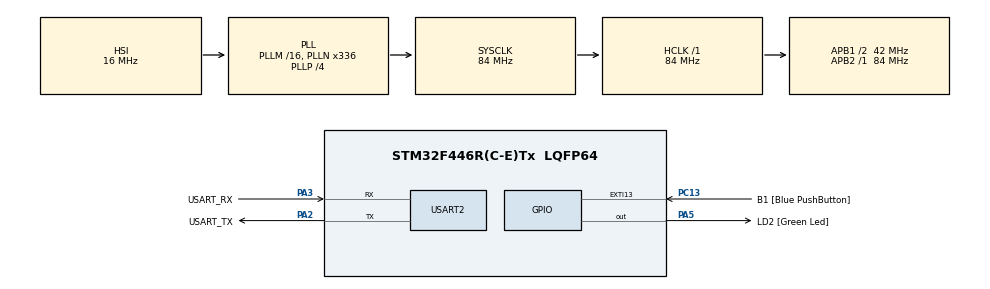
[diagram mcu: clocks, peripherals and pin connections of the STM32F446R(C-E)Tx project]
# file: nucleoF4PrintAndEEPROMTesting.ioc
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Mcu.Family=STM32F4
Mcu.Name=STM32F446R(C-E)Tx
Mcu.Package=LQFP64
NVIC.EXTI15_10_IRQn=true\:0\:0\:false\:false\:true\:true\:true\:true
NVIC.PriorityGroup=NVIC_PRIORITYGROUP_0
NimaLTD.I-CUBE-EE.3.2.2.DriverJjEE=true
NimaLTD.I-CUBE-EE.3.2.2.EE_MANUAL_CONFIG=true
NimaLTD.I-CUBE-EE.3.2.2.EE_SELECTED_ADDRESS=0x08060000
NimaLTD.I-CUBE-EE.3.2.2.EE_SELECTED_PAGE_SECTOR_NUMBER=7
NimaLTD.I-CUBE-EE.3.2.2.EE_SELECTED_PAGE_SECTOR_SIZE=EE_PAGE_SECTOR_SIZE_128K
PA13.GPIO_Label=TMS
PA13.Mode=Serial_Wire
PA13.Signal=SYS_JTMS-SWDIO
PA14.GPIO_Label=TCK
PA14.Mode=Serial_Wire
PA14.Signal=SYS_JTCK-SWCLK
PA2.GPIO_Label=USART_TX
PA2.Mode=Asynchronous
PA2.Signal=USART2_TX
PA3.GPIO_Label=USART_RX
PA3.Mode=Asynchronous
PA3.Signal=USART2_RX
PA5.GPIO_Label=LD2 [Green Led]
PA5.Signal=GPIO_Output
PB3.GPIO_Label=SWO
PB3.Signal=SYS_JTDO-SWO
PC13.GPIO_Label=B1 [Blue PushButton]
PC13.GPIO_ModeDefaultEXTI=GPIO_MODE_IT_FALLING
PC13.Signal=GPXTI13
PC14-OSC32_IN.Mode=LSE-External-Oscillator
PC14-OSC32_IN.Signal=RCC_OSC32_IN
PC15-OSC32_OUT.Mode=LSE-External-Oscillator
PC15-OSC32_OUT.Signal=RCC_OSC32_OUT
PH0-OSC_IN.Mode=HSE-External-Oscillator
PH0-OSC_IN.Signal=RCC_OSC_IN
PH1-OSC_OUT.Mode=HSE-External-Oscillator
PH1-OSC_OUT.Signal=RCC_OSC_OUT
ProjectManager.HeapSize=0x200
ProjectManager.StackSize=0x400
ProjectManager.TargetToolchain=STM32CubeIDE
RCC.48MHZClocksFreq_Value=84000000
RCC.AHBFreq_Value=84000000
RCC.APB1CLKDivider=RCC_HCLK_DIV2
RCC.APB1Freq_Value=42000000
RCC.APB1TimFreq_Value=84000000
RCC.APB2Freq_Value=84000000
RCC.APB2TimFreq_Value=84000000
RCC.CortexFreq_Value=84000000
RCC.FLatency-AdvancedSettings=FLASH_LATENCY_2
RCC.HCLKFreq_Value=84000000
RCC.HSE_VALUE=8000000
RCC.HSI_VALUE=16000000
RCC.PLLN=336
RCC.PLLP=RCC_PLLP_DIV4
RCC.SYSCLKFreq_VALUE=84000000
RCC.SYSCLKSource=RCC_SYSCLKSOURCE_PLLCLK
RCC.USBFreq_Value=168000000
RCC.VCOOutputFreq_Value=336000000
USART2.VirtualMode=VM_ASYNC
VP_NimaLTD.I-CUBE-EE_VS_DriverJjEE_1.0.0_3.2.2.Mode=DriverJjEE
board=NUCLEO-F446RE

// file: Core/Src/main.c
/* USER CODE BEGIN Header */
/**
  ******************************************************************************
  * @file           : main.c
  * @brief          : Main program body
  ******************************************************************************
  * @attention
  *
  * Copyright (c) 2025 STMicroelectronics.
  * All rights reserved.
  *
  * This software is licensed under terms that can be found in the LICENSE file
  * in the root directory of this software component.
  * If no LICENSE file comes with this software, it is provided AS-IS.
  *
  ******************************************************************************
  */
/* USER CODE END Header */
#include "main.h"

/* USER CODE BEGIN Includes */
#include <stdio.h>
#include "ee.h"
/* USER CODE END Includes */

/* USER CODE BEGIN PD */

typedef struct
{
 uint32_t val1;
 uint32_t val2;
 uint32_t val3;
 uint32_t val4;

} Stotrage_t;

Stotrage_t ee;

uint8_t X = 0;
volatile uint8_t EEWriteLatch = 0;

/* USER CODE END PD */

UART_HandleTypeDef huart2;

void SystemClock_Config(void);
static void MX_GPIO_Init(void);
static void MX_USART2_UART_Init(void);

/* USER CODE BEGIN 0 */

void HAL_GPIO_EXTI_Callback(uint16_t GPIO_Pin)
{
  /* Prevent unused argument(s) compilation warning */
  //UNUSED(GPIO_Pin);

	if(GPIO_Pin == B1_Pin) {
		//ee.val1++;
		EEWriteLatch = 1;
	}

  /* NOTE: This function Should not be modified, when the callback is needed,
           the HAL_GPIO_EXTI_Callback could be implemented in the user file
   */
}

/* USER CODE END 0 */

int main(void)
{

  /* MCU Configuration--------------------------------------------------------*/

  /* Reset of all peripherals, Initializes the Flash interface and the Systick. */
  HAL_Init();

  /* Configure the system clock */
  SystemClock_Config();

  /* Initialize all configured peripherals */
  MX_GPIO_Init();
  MX_USART2_UART_Init();
  /* USER CODE BEGIN 2 */

	uint8_t MSG[35] = {'\0'};
	X = 0;

	EE_Init(&ee, sizeof(Stotrage_t));
	EE_Read();

  /* USER CODE END 2 */

  /* Infinite loop */
  /* USER CODE BEGIN WHILE */
  while (1)
  {
	if(EEWriteLatch == 1) {
		ee.val1++;
		ee.val2 = 0;
		ee.val3 = 0;
		ee.val4 = 0;
		EE_Write();
		EEWriteLatch = 0;
	}
	/*
	sprintf(MSG, "Tracing X = %d\r\n", X);
	HAL_UART_Transmit(&huart2, MSG, sizeof(MSG), ee.val1);
	*/
	int len = snprintf((char*)MSG, sizeof(MSG), "Tracing X = %d\r\n", (int)ee.val1);
	HAL_UART_Transmit(&huart2, MSG, len, 100);  // fixed timeout, correct length
    HAL_GPIO_TogglePin(LD2_GPIO_Port, LD2_Pin);   // <--- add this
	HAL_Delay(200);

	//X++;

    /* USER CODE END WHILE */

  }
}

void SystemClock_Config(void)
{
  RCC_OscInitTypeDef RCC_OscInitStruct = {0};
  RCC_ClkInitTypeDef RCC_ClkInitStruct = {0};

  /** Configure the main internal regulator output voltage
  */
  __HAL_RCC_PWR_CLK_ENABLE();
  __HAL_PWR_VOLTAGESCALING_CONFIG(PWR_REGULATOR_VOLTAGE_SCALE3);

  /** Initializes the RCC Oscillators according to the specified parameters
  * in the RCC_OscInitTypeDef structure.
  */
  RCC_OscInitStruct.OscillatorType = RCC_OSCILLATORTYPE_HSI;
  RCC_OscInitStruct.HSIState = RCC_HSI_ON;
  RCC_OscInitStruct.HSICalibrationValue = RCC_HSICALIBRATION_DEFAULT;
  RCC_OscInitStruct.PLL.PLLState = RCC_PLL_ON;
  RCC_OscInitStruct.PLL.PLLSource = RCC_PLLSOURCE_HSI;
  RCC_OscInitStruct.PLL.PLLM = 16;
  RCC_OscInitStruct.PLL.PLLN = 336;
  RCC_OscInitStruct.PLL.PLLP = RCC_PLLP_DIV4;
  RCC_OscInitStruct.PLL.PLLQ = 2;
  RCC_OscInitStruct.PLL.PLLR = 2;
  if (HAL_RCC_OscConfig(&RCC_OscInitStruct) != HAL_OK)
  {
    Error_Handler();
  }

  /** Initializes the CPU, AHB and APB buses clocks
  */
  RCC_ClkInitStruct.ClockType = RCC_CLOCKTYPE_HCLK|RCC_CLOCKTYPE_SYSCLK
                              |RCC_CLOCKTYPE_PCLK1|RCC_CLOCKTYPE_PCLK2;
  RCC_ClkInitStruct.SYSCLKSource = RCC_SYSCLKSOURCE_PLLCLK;
  RCC_ClkInitStruct.AHBCLKDivider = RCC_SYSCLK_DIV1;
  RCC_ClkInitStruct.APB1CLKDivider = RCC_HCLK_DIV2;
  RCC_ClkInitStruct.APB2CLKDivider = RCC_HCLK_DIV1;

  if (HAL_RCC_ClockConfig(&RCC_ClkInitStruct, FLASH_LATENCY_2) != HAL_OK)
  {
    Error_Handler();
  }
}

static void MX_USART2_UART_Init(void)
{

  huart2.Instance = USART2;
  huart2.Init.BaudRate = 115200;
  huart2.Init.WordLength = UART_WORDLENGTH_8B;
  huart2.Init.StopBits = UART_STOPBITS_1;
  huart2.Init.Parity = UART_PARITY_NONE;
  huart2.Init.Mode = UART_MODE_TX_RX;
  huart2.Init.HwFlowCtl = UART_HWCONTROL_NONE;
  huart2.Init.OverSampling = UART_OVERSAMPLING_16;
  if (HAL_UART_Init(&huart2) != HAL_OK)
  {
    Error_Handler();
  }

}

static void MX_GPIO_Init(void)
{
  GPIO_InitTypeDef GPIO_InitStruct = {0};

  /* GPIO Ports Clock Enable */
  __HAL_RCC_GPIOC_CLK_ENABLE();
  __HAL_RCC_GPIOH_CLK_ENABLE();
  __HAL_RCC_GPIOA_CLK_ENABLE();
  __HAL_RCC_GPIOB_CLK_ENABLE();

  /*Configure GPIO pin Output Level */
  HAL_GPIO_WritePin(LD2_GPIO_Port, LD2_Pin, GPIO_PIN_RESET);

  /*Configure GPIO pin : B1_Pin */
  GPIO_InitStruct.Pin = B1_Pin;
  GPIO_InitStruct.Mode = GPIO_MODE_IT_FALLING;
  GPIO_InitStruct.Pull = GPIO_NOPULL;
  HAL_GPIO_Init(B1_GPIO_Port, &GPIO_InitStruct);

  /*Configure GPIO pin : LD2_Pin */
  GPIO_InitStruct.Pin = LD2_Pin;
  GPIO_InitStruct.Mode = GPIO_MODE_OUTPUT_PP;
  GPIO_InitStruct.Pull = GPIO_NOPULL;
  GPIO_InitStruct.Speed = GPIO_SPEED_FREQ_LOW;
  HAL_GPIO_Init(LD2_GPIO_Port, &GPIO_InitStruct);

  /* EXTI interrupt init*/
  HAL_NVIC_SetPriority(EXTI15_10_IRQn, 0, 0);
  HAL_NVIC_EnableIRQ(EXTI15_10_IRQn);

}

void Error_Handler(void)
{
  __disable_irq();
  while (1)
  {
  }
}
